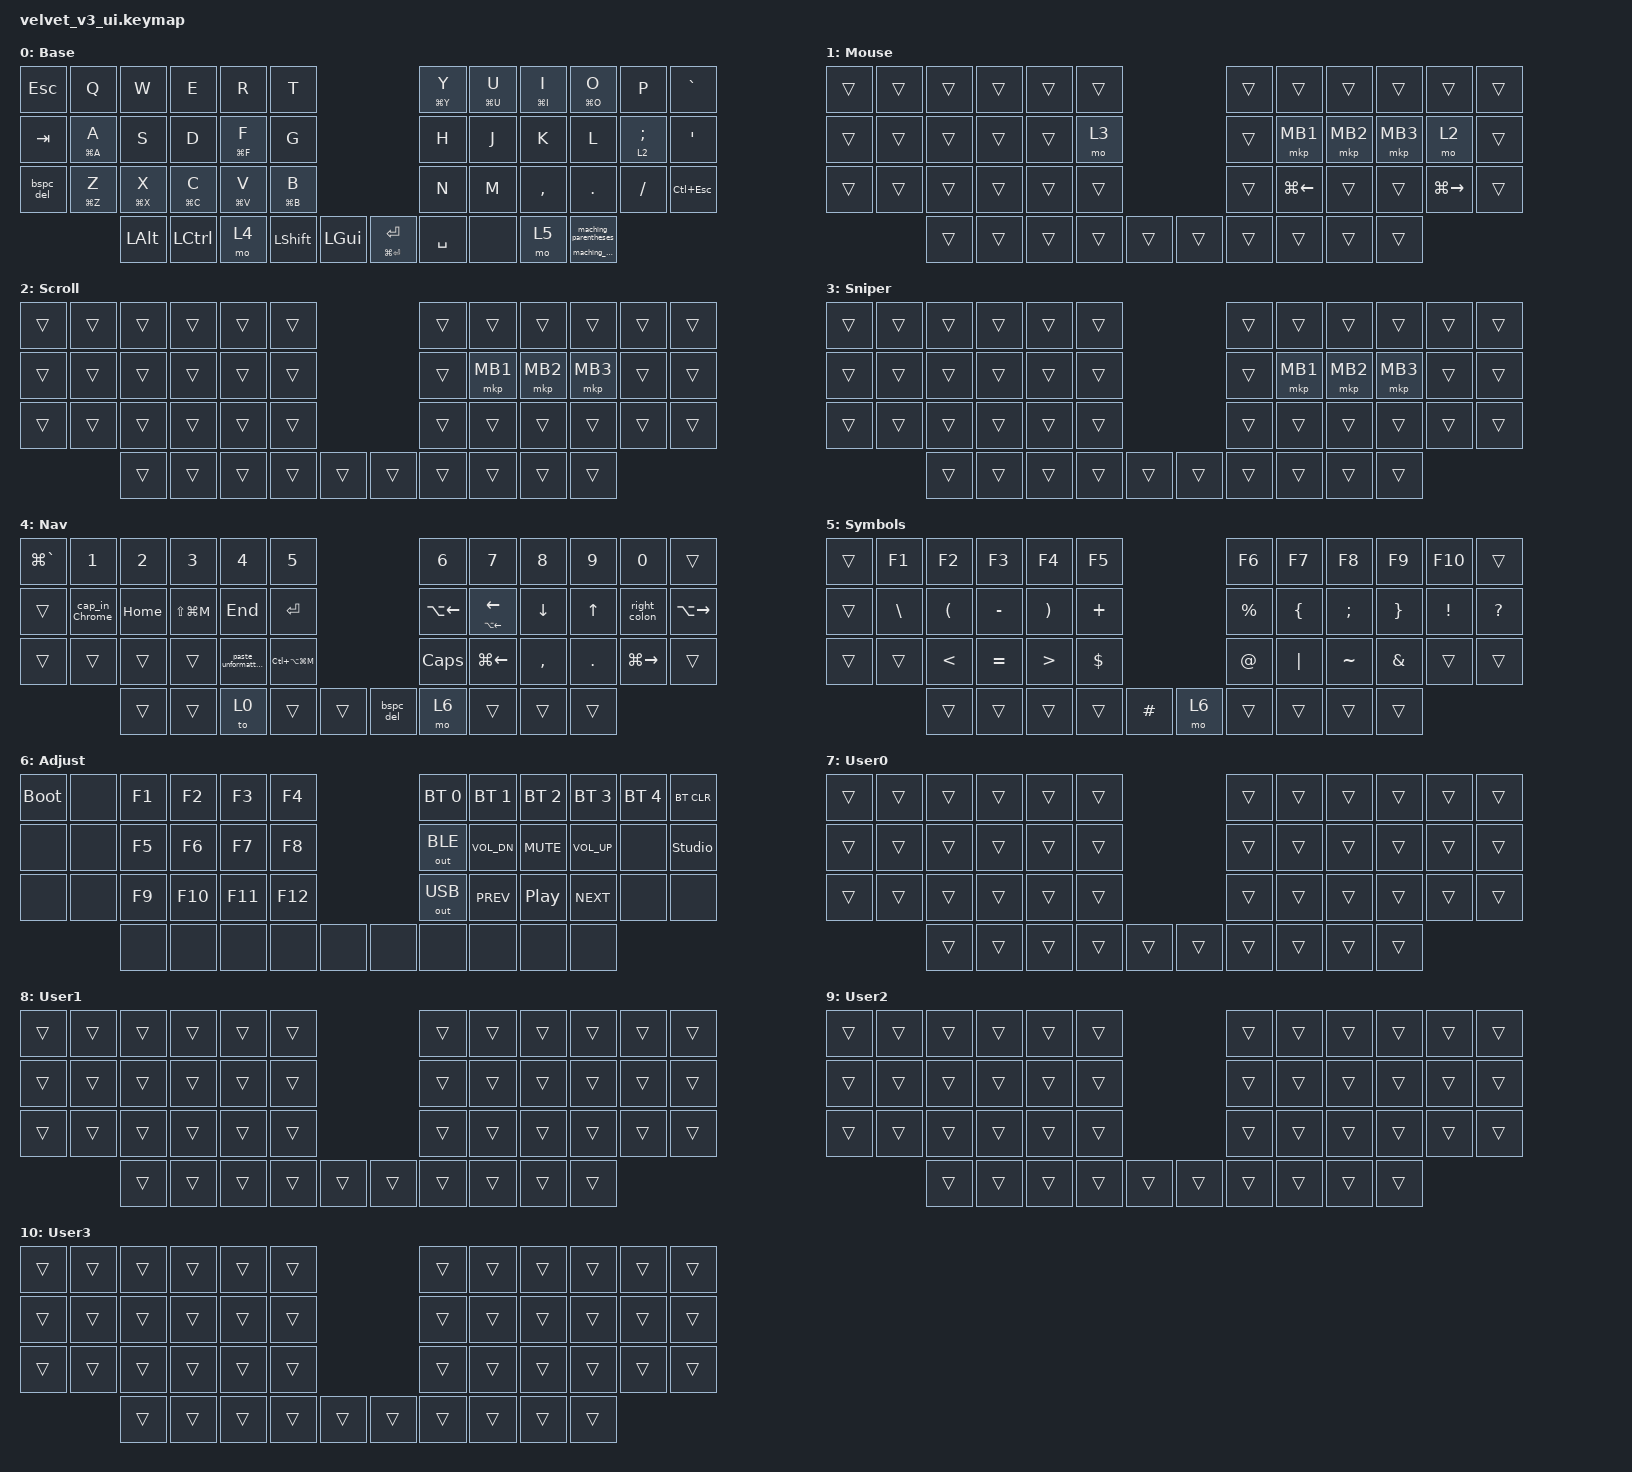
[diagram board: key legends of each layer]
#include "keys_ru.h"
#include <dt-bindings/zmk/input_transform.h>
#include <input/processors.dtsi>
#include <zephyr/dt-bindings/input/input-event-codes.h>
#include <behaviors.dtsi>
#include <dt-bindings/zmk/bt.h>
#include <dt-bindings/zmk/keys.h>
#include <dt-bindings/zmk/outputs.h>
#include <dt-bindings/zmk/pointing.h>

/* Custom Device-tree */
&mt {
    tapping-term-ms = <275>;
    flavor = "tap-preferred";
    quick-tap-ms = <200>;
    require-prior-idle-ms = <150>;
};
&lt {
    tapping-term-ms = <275>;
    flavor = "tap-preferred";  
};

/ {
    behaviors {
        cap_sen: cap_sen {
            compatible = "zmk,behavior-hold-tap";
            label = "CAP_SEN";
            bindings = <&mo>, <&mkp>;

            #binding-cells = <2>;
            tapping-term-ms = <150>;
            hold-while-undecided;
        };

        mouse_layer: mouse_layer {
            compatible = "zmk,behavior-sticky-key";
            label = "MOUSE_LAYER";
            bindings = <&mo>;
            #binding-cells = <1>;
            release-after-ms = <500>;
        };

        zip_auto_mouse: zip_auto_mouse {
            compatible = "zmk,input-processor-temp-layer";
            #input-processor-cells = <2>;
            require-prior-idle-ms = <800>;
            excluded-positions = <>;
        };
    };
};
/* custom macro definitions */
/ {
    macros {

        // selects all and then does caps - for wisetime
        cap_in_Chrome: cap_in_Chrome {
            label = "&CAP_IN_CHROME";
            compatible = "zmk,behavior-macro";
            #binding-cells = <0>;
            bindings = <&macro_tap>
                , <&kp LG(A)>
                , <&macro_wait_time 100>
                , <&macro_tap>
                , <&kp LG(LA(N1))>;
        };

        maching_parentheses: maching_parentheses {
            label = "&MACHING_PARENTHESES";
            compatible = "zmk,behavior-macro";
            #binding-cells = <0>;
            bindings = <&macro_tap>
                , <&kp LS(N9)>
                , <&macro_tap>
                , <&kp LS(N0)>
                , <&macro_tap>
                , <&kp SPACE>
                , <&macro_tap>
                , <&kp LEFT>
                , <&kp LEFT>;
        };

        maching_brakets: maching_brakets {
            label = "&MACHING_BRAKETS";
            compatible = "zmk,behavior-macro";
            #binding-cells = <0>;
            bindings = <&macro_tap>
                , <&kp LBKT>
                , <&macro_tap>
                , <&kp RBKT>
                , <&macro_tap>
                , <&kp LEFT>
                , <&macro_wait_time 15>
                , <&macro_tap>
                , <&caps_word>;
        };

        maching_quotes: maching_quotes {
            label = "&MACHING_QUOTES";
            compatible = "zmk,behavior-macro";
            #binding-cells = <0>;
            bindings = <&macro_tap>
                , <&kp SQT>
                , <&macro_tap>
                , <&kp SQT>
                , <&macro_tap>
                , <&kp LEFT>;
        };

        Paste_Unformatted_Word: Paste_Unformatted_Word {
            label = "&PASTE_UNFORMATTED_WORD";
            compatible = "zmk,behavior-macro";
            #binding-cells = <0>;
            bindings = <&kp LG(LC(V))>
                , <&macro_wait_time 200>
                , <&kp U>
                , <&macro_tap_time 100>
                , <&kp RET>;
        };
    };
};
/* custom behaiors definitions */
/ {
    behaviors {

        // a mt for a parenthesis macro
        matchingholdP: matchingholdP {
            compatible = "zmk,behavior-hold-tap";
            #binding-cells = <2>;
            tapping-term-ms = <200>;
            bindings = <&maching_parentheses>, <&kp>;
            flavor = "tap-preferred";
            quick-tap-ms = <200>;
            hold-trigger-on-release;
        };

        macro_hold_tap: macro_hold_tap {
            compatible = "zmk,behavior-hold-tap";
            #binding-cells = <2>;
            tapping-term-ms = <200>;
            bindings = <&maching_brakets>, <&maching_parentheses>;
            flavor = "tap-preferred";
            quick-tap-ms = <200>;
        };

        MIS_FIRE: MIS_FIRE {
            compatible = "zmk,behavior-hold-tap";
            #binding-cells = <2>;
            tapping-term-ms = <200>;
            bindings = <&kp>, <&kp>;
            flavor = "tap-preferred";
            quick-tap-ms = <200>;
            require-prior-idle-ms = <125>;
        };

        bspc_del: bspc_del {
            compatible = "zmk,behavior-mod-morph";
            #binding-cells = <0>;
            bindings = <&kp BSPC>, <&kp DEL>;
            mods = <(MOD_LSFT|MOD_RSFT)>;
        };

        right_colon: right_colon {
            compatible = "zmk,behavior-mod-morph";
            #binding-cells = <0>;
            bindings = <&mt LA(RIGHT) RIGHT>, <&kp COLON>;
            mods = <(MOD_LSFT|MOD_RSFT)>;
        };

        paste_unformatted_word: paste_unformatted_word {
            compatible = "zmk,behavior-mod-morph";
            #binding-cells = <0>;
            bindings = <&Paste_Unformatted_Word>, <&kp LG(LA(LS(V)))>;
            mods = <(MOD_LSFT|MOD_RSFT)>;
        };

        mo_to: mo_to {
            compatible = "zmk,behavior-hold-tap";
            #binding-cells = <2>;
            tapping-term-ms = <275>;
            bindings = <&mo>, <&to>;
            flavor = "tap-preferred";
        };
    };
};

/ {
    keymap {
        compatible = "zmk,keymap";
// Black
        base {
            //     |   #A#     |   #B#     |   #C#     |   #D#     |   #E#     |   #F#     | #G#  |  |   #H#     |   #I#     |   #J#     |   #K#     |   #L#     |   #M#     |   #N#     |
            // @1@ | Escape    | Q         | W         | E         | R         | T         |                     | Cmd+Y/Y   | Cmd+U/U   | Cmd+I/I   | Cmd+O/O   | P         | Grave     |
            // @2@ | Tab       | Cmd+A/A   | S         | D         | Cmd+F/F   | G         |                     | H         | J         | K         | L         | Scroll/;  | '         |
            // @3@ | Bspc/Del  | Cmd+Z/Z   | Cmd+X/X   | Cmd+C/C   | Cmd+V/V   | Cmd+B/B   |                     | N         | M         | ,         | .         | /         | Ctrl+Esc  |
            // @4@                         | Alt       | Ctrl      | Nav↑      | Shift     | Cmd  |  | Cmd+Ent/Ent | Space  |  *BALL*   | Sym↑      | ()/[]     |
            bindings = <
                   &kp ESC    &kp Q  &kp W     &kp E     &kp R      &kp T                        &mt LG(Y) Y  &mt LG(U) U  &mt LG(I) I    &mt LG(O) O &kp P     &kp GRAVE
                   &kp TAB    &mt LG(A) A  &kp S     &kp D     &mt LG(F) F      &kp G                        &kp H  &kp J  &kp K      &kp L     &lt 2 SEMI  &kp SQT
                   &bspc_del  &mt LG(Z) Z  &mt LG(X) X   &mt LG(C) C &mt LG(V) V  &mt LG(B) B    &kp N  &kp M  &kp COMMA  &kp DOT   &kp SLASH   &kp LC(ESC)
                                       &kp LALT  &kp LCTRL  &mo 4  &kp LSHFT    &kp LGUI  &mt LG(RET) RET  &kp SPACE  &none &mo 5  &macro_hold_tap 0 0
            >;

            display-name = "Base";
        };
// Yellow
        mouse {
            //     |   #A#     |   #B#     |   #C#     |   #D#     |   #E#     |   #F#     | #G#  |  |   #H#     |   #I#     |   #J#     |   #K#     |   #L#     |   #M#     |   #N#     |
            // @1@ | ////      | ////      | ////      | ////      | ////      | ////      |                     | ////      | ////      | ////      | ////      | ////      | ////      |
            // @2@ | ////      | ////      | ////      | ////      | ////      | Sniper↑   |                     | Alt+Left  | Lt Click  | Rt Click  | Mid Click | Scroll↑   | Alt+Right |
            // @3@ | ////      | ////      | ////      | ////      | ////      | ////      |                     | ////      | GUI+Left  | ////      | ////      | GUI+Right | ////      |
            // @4@                         | ////      | ////      | ////      | ////      | //// |  | ////      | ////      |  *BALL*   | ////      |
            bindings = <
                   &trans  &trans  &trans    &trans    &trans    &trans                    &trans  &trans    &trans    &trans    &trans  &trans
                   &trans  &trans  &trans    &trans    &trans    &mo 3                     &trans   &mkp MB1  &mkp MB2  &mkp MB3  &mo 2   &trans
                   &trans  &trans  &trans    &trans    &trans    &trans                    &trans  &kp LG(LEFT)    &trans    &trans    &kp LG(RIGHT)  &trans
                                   &trans    &trans    &trans    &trans  &trans    &trans  &trans  &trans    &trans  &trans
            >;

            display-name = "Mouse";
        };

        scroll {
            //     |   #A#     |   #B#     |   #C#     |   #D#     |   #E#     |   #F#     | #G#  |  |   #H#     |   #I#     |   #J#     |   #K#     |   #L#     |   #M#     |   #N#     |
            // @1@ | ////      | ////      | ////      | ////      | ////      | ////      |                     | ////      | ////      | ////      | ////      | ////      | ////      |
            // @2@ | ////      | ////      | ////      | ////      | ////      | ////      |                     | ////      | Lt Click  | Rt Click  | Mid Click | ////      | ////      |
            // @3@ | ////      | ////      | ////      | ////      | ////      | ////      |                     | ////      | ////      | ////      | ////      | ////      | ////      |
            // @4@                         | ////      | ////      | ////      | ////      | //// |  | ////      | ////      |  *BALL*   | ////      |
            // (Trackball scrolls in this layer)
            bindings = <
                   &trans  &trans  &trans    &trans    &trans    &trans                    &trans  &trans    &trans    &trans    &trans  &trans
                   &trans  &trans  &trans    &trans    &trans    &trans                    &trans  &mkp MB1  &mkp MB2  &mkp MB3  &trans  &trans
                   &trans  &trans  &trans    &trans    &trans    &trans                    &trans  &trans    &trans    &trans    &trans  &trans
                                   &trans    &trans    &trans    &trans  &trans    &trans  &trans  &trans    &trans  &trans
            >;

            display-name = "Scroll";
        };

        sniper {
            //     |   #A#     |   #B#     |   #C#     |   #D#     |   #E#     |   #F#     | #G#  |  |   #H#     |   #I#     |   #J#     |   #K#     |   #L#     |   #M#     |   #N#     |
            // @1@ | ////      | ////      | ////      | ////      | ////      | ////      |                     | ////      | ////      | ////      | ////      | ////      | ////      |
            // @2@ | ////      | ////      | ////      | ////      | ////      | ////      |                     | ////      | Lt Click  | Rt Click  | Mid Click | ////      | ////      |////
            // @3@ | ////      | ////      | ////      | ////      | ////      | ////      |                     | ////      | ////      | ////      | ////      | ////      | ////      |
            // @4@                         | ////      | ////      | ////      | ////      | //// |  | ////      | ////      |  *BALL*   | ////      |
            // (Trackball moves slowly/precisely in this layer)
            bindings = <
                   &trans  &trans  &trans    &trans    &trans    &trans                    &trans  &trans    &trans    &trans    &trans  &trans
                   &trans  &trans  &trans    &trans     &trans    &trans                    &trans  &mkp MB1  &mkp MB2  &mkp MB3  &trans  &trans
                   &trans  &trans  &trans    &trans    &trans    &trans                    &trans  &trans    &trans    &trans    &trans  &trans
                                   &trans    &trans    &trans    &trans  &trans    &trans  &trans  &trans    &trans  &trans
            >;

            display-name = "Sniper";
        };

// Red
        nav {
            //     |   #A#     |   #B#     |   #C#     |   #D#     |   #E#     |   #F#     | #G#  |  |   #H#     |   #I#     |   #J#     |   #K#     |   #L#     |   #M#     |   #N#     |
            // @1@ | Cmd GRAVE | 1         | 2         | 3         | 4         | 5         |                     | 6         | 7         | 8         | 9         | 0         | ////      |
            // @2@ | ////      | WiseTime  | Home      | Wrd Para  | End       | Enter     |                     | Alt+Left  | Left      | Down      | Up        | Right/:   | Alt+Right |
            // @3@ | ////      | ////      | ////      | ////      | Pst Unfmt | Word Cmnt |                     | Caps Lock | GUI+Left | ,         | .         | GUI+Right| ////      |
            // @4@                         | ////      | ////      | To Base   | ////      | //// |  | Bspc/Del  | Adjust↑   |  *BALL*   | ////      |
            bindings = <
                   &kp LG(GRAVE)  &kp N1  &kp N2    &kp N3   &kp N4   &kp N5                     &kp N6    &kp N7        &kp N8         &kp N9       &kp N0         &trans
                   &trans  &cap_in_Chrome  &kp HOME  &kp LS(LG(M))  &kp END   &kp RET                    &kp LA(LEFT)    &mt LA(LEFT) LEFT      &kp DOWN       &kp UP       &right_colon   &kp LA(RIGHT)
                   &trans  &trans   &trans  &trans  &paste_unformatted_word  &kp LC(LA(LG(M)))                   &kp CLCK  &kp LG(LEFT)  &kp COMMA  &kp DOT  &kp LG(RIGHT)  &trans
                                   &trans    &trans   &to 0    &trans   &trans    &bspc_del  &mo 6     &trans        &trans  &trans
            >;

            display-name = "Nav";
        };
// Blue
        sym {
            //     |   #A#     |   #B#     |   #C#     |   #D#     |   #E#     |   #F#     | #G#  |  |   #H#     |   #I#     |   #J#     |   #K#     |   #L#     |   #M#     |   #N#     |
            // @1@ | ////      | F1        | F1        | F1        | F1        | F1        |                     | F1        | F1        | F1        | F1        | F1        | ////      |
            // @2@ | ////      | \         | (         | -         | )         | +         |                     | %         | {         | ;         | }         | !         | ?         |
            // @3@ | ////      | ////      | <         | =         | >         | $         |                     | @         | |         | ~         | &         | ////      | ////      |
            // @4@                         | ////      | ////      | ////      | ////      | #    |  | ////      | Adjust↑   |  *BALL*   | ////      |
            bindings = <
                   &trans  &kp F1    &kp F2    &kp F3  &kp F4   &kp F5                     &kp F6  &kp F7   &kp F8  &kp F9   &kp F10    &trans
                   &trans  &kp BSLH  &kp LPAR  &kp MINUS  &kp RPAR  &kp PLUS                       &kp PRCNT  &kp LBRC  &kp SEMI   &kp RBRC  &kp EXCL  &kp QUESTION
                   &trans  &trans    &kp LT  &kp EQUAL  &kp GT  &kp DLLR                       &kp AT     &kp PIPE  &kp TILDE  &kp AMPS  &trans    &trans
                                     &trans    &trans     &trans    &trans      &kp HASH    &mo 6 &trans     &trans    &trans  &trans
            >;

            display-name = "Symbols";
        };

        adj {
            //     |   #A#     |   #B#     |   #C#     |   #D#     |   #E#     |   #F#     | #G#  |  |   #H#     |   #I#     |   #J#     |   #K#     |   #L#     |   #M#     |   #N#     |
            // @1@ | Bootloader| ////      | F1        | F2        | F3        | F4        |                     | BT Dev 0  | BT Dev 1  | BT Dev 2  | BT Dev 3  | BT Dev 4  | BT Clear  |
            // @2@ | ////      | ////      | F5        | F6        | F7        | F8        |                     | Bluetooth | Vol Down  | Mute      | Vol Up    | ////      | Studio    |
            // @3@ | ////      | ////      | F9        | F10       | F11       | F12       |                     | USB       | Prev Track| Play/Pause| Next Track| ////      | ////      |
            // @4@                         | ////      | ////      | ////      | ////      | //// |  | ////      | ////      |  *BALL*   | ////      |
            bindings = <
                   &bootloader  &none  &kp F1  &kp F2   &kp F3   &kp F4                   &bt BT_SEL 0  &bt BT_SEL 1  &bt BT_SEL 2      &bt BT_SEL 3  &bt BT_SEL 4  &bt BT_CLR
                   &none        &none  &kp F5  &kp F6   &kp F7   &kp F8                   &out OUT_BLE  &kp C_VOL_DN  &kp C_MUTE        &kp C_VOL_UP  &none         &studio_unlock
                   &none        &none  &kp F9  &kp F10  &kp F11  &kp F12                  &out OUT_USB  &kp C_PREV    &kp C_PLAY_PAUSE  &kp C_NEXT    &none         &none
                                       &none   &none    &none    &none    &none    &none  &none         &none         &none  &none
            >;

            display-name = "Adjust";
        };

        User0 {
            //     |   #A#     |   #B#     |   #C#     |   #D#     |   #E#     |   #F#     | #G#  |  |   #H#     |   #I#     |   #J#     |   #K#     |   #L#     |   #M#     |   #N#     |
            // @1@ | ////      | ////      | ////      | ////      | ////      | ////      |                     | ////      | ////      | ////      | ////      | ////      | ////      |
            // @2@ | ////      | ////      | ////      | ////      | ////      | ////      |                     | ////      | ////      | ////      | ////      | ////      | ////      |
            // @3@ | ////      | ////      | ////      | ////      | ////      | ////      |                     | ////      | ////      | ////      | ////      | ////      | ////      |
            // @4@                         | ////      | ////      | ////      | ////      | //// |  | ////      | ////      |  *BALL*   | ////      |
            bindings = <
                   &trans  &trans  &trans  &trans  &trans  &trans                    &trans  &trans  &trans  &trans  &trans  &trans
                   &trans  &trans  &trans  &trans  &trans  &trans                    &trans  &trans  &trans  &trans  &trans  &trans
                   &trans  &trans  &trans  &trans  &trans  &trans                    &trans  &trans  &trans  &trans  &trans  &trans
                                   &trans  &trans  &trans  &trans  &trans    &trans  &trans  &trans  &trans  &trans
            >;

            display-name = "User0";
        };

        User1 {
            //     |   #A#     |   #B#     |   #C#     |   #D#     |   #E#     |   #F#     | #G#  |  |   #H#     |   #I#     |   #J#     |   #K#     |   #L#     |   #M#     |   #N#     |
            // @1@ | ////      | ////      | ////      | ////      | ////      | ////      |                     | ////      | ////      | ////      | ////      | ////      | ////      |
            // @2@ | ////      | ////      | ////      | ////      | ////      | ////      |                     | ////      | ////      | ////      | ////      | ////      | ////      |
            // @3@ | ////      | ////      | ////      | ////      | ////      | ////      |                     | ////      | ////      | ////      | ////      | ////      | ////      |
            // @4@                         | ////      | ////      | ////      | ////      | //// |  | ////      | ////      |  *BALL*   | ////      |
            bindings = <
                   &trans  &trans  &trans  &trans  &trans  &trans                    &trans  &trans  &trans  &trans  &trans  &trans
                   &trans  &trans  &trans  &trans  &trans  &trans                    &trans  &trans  &trans  &trans  &trans  &trans
                   &trans  &trans  &trans  &trans  &trans  &trans                    &trans  &trans  &trans  &trans  &trans  &trans
                                   &trans  &trans  &trans  &trans  &trans    &trans  &trans  &trans  &trans  &trans
            >;

            display-name = "User1";
        };

        User2 {
            //     |   #A#     |   #B#     |   #C#     |   #D#     |   #E#     |   #F#     | #G#  |  |   #H#     |   #I#     |   #J#     |   #K#     |   #L#     |   #M#     |   #N#     |
            // @1@ | ////      | ////      | ////      | ////      | ////      | ////      |                     | ////      | ////      | ////      | ////      | ////      | ////      |
            // @2@ | ////      | ////      | ////      | ////      | ////      | ////      |                     | ////      | ////      | ////      | ////      | ////      | ////      |
            // @3@ | ////      | ////      | ////      | ////      | ////      | ////      |                     | ////      | ////      | ////      | ////      | ////      | ////      |
            // @4@                         | ////      | ////      | ////      | ////      | //// |  | ////      | ////      |  *BALL*   | ////      |
            bindings = <
                   &trans  &trans  &trans  &trans  &trans  &trans                    &trans  &trans  &trans  &trans  &trans  &trans
                   &trans  &trans  &trans  &trans  &trans  &trans                    &trans  &trans  &trans  &trans  &trans  &trans
                   &trans  &trans  &trans  &trans  &trans  &trans                    &trans  &trans  &trans  &trans  &trans  &trans
                                   &trans  &trans  &trans  &trans  &trans    &trans  &trans  &trans  &trans  &trans
            >;

            display-name = "User2";
        };

        User3 {
            //     |   #A#     |   #B#     |   #C#     |   #D#     |   #E#     |   #F#     | #G#  |  |   #H#     |   #I#     |   #J#     |   #K#     |   #L#     |   #M#     |   #N#     |
            // @1@ | ////      | ////      | ////      | ////      | ////      | ////      |                     | ////      | ////      | ////      | ////      | ////      | ////      |
            // @2@ | ////      | ////      | ////      | ////      | ////      | ////      |                     | ////      | ////      | ////      | ////      | ////      | ////      |
            // @3@ | ////      | ////      | ////      | ////      | ////      | ////      |                     | ////      | ////      | ////      | ////      | ////      | ////      |
            // @4@                         | ////      | ////      | ////      | ////      | //// |  | ////      | ////      |  *BALL*   | ////      |
            bindings = <
                   &trans  &trans  &trans  &trans  &trans  &trans                    &trans  &trans  &trans  &trans  &trans  &trans
                   &trans  &trans  &trans  &trans  &trans  &trans                    &trans  &trans  &trans  &trans  &trans  &trans
                   &trans  &trans  &trans  &trans  &trans  &trans                    &trans  &trans  &trans  &trans  &trans  &trans
                                   &trans  &trans  &trans  &trans  &trans    &trans  &trans  &trans  &trans  &trans
            >;

            display-name = "User3";
        };
    };
};

&trackball { cpi = <1600>; };

&trackball_listener {
    input-processors = <&zip_auto_mouse 1 700>, <&zip_xy_scaler 9 20>;

    scroller {
        layers = <2>;
        input-processors =
            <&zip_xy_transform INPUT_TRANSFORM_Y_INVERT>,
            <&zip_xy_scaler 1 32>,
            <&zip_xy_to_scroll_mapper>;
    };

    sniper {
        layers = <3>;
        input-processors = <&zip_xy_scaler 1 4>;
    };
};
